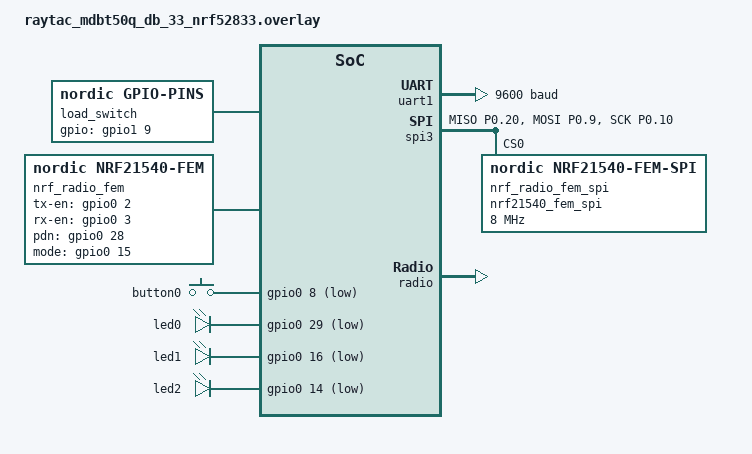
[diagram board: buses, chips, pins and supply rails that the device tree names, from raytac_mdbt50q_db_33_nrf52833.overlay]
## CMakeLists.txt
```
#
# Copyright (c) 2020 Nordic Semiconductor ASA
#
# SPDX-License-Identifier: LicenseRef-Nordic-5-Clause
#
cmake_minimum_required(VERSION 3.20.0)

find_package(Zephyr REQUIRED HINTS $ENV{ZEPHYR_BASE})
project(NONE)

# NORDIC SDK APP START
target_sources(app PRIVATE
	src/main.c
	src/model_handler.c
	src/chat_cli.c
	src/uart1.c
	src/gpiobao.c)
target_include_directories(app PRIVATE include)
# NORDIC SDK APP END
```

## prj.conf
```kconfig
#
# Copyright (c) 2020 Nordic Semiconductor ASA
#
# SPDX-License-Identifier: LicenseRef-Nordic-5-Clause
#
CONFIG_NCS_SAMPLES_DEFAULTS=y

# Deffered logging helps improve LPN power consumption
# when friendship is established.
CONFIG_LOG_MODE_DEFERRED=y

# General configuration
CONFIG_SYSTEM_WORKQUEUE_STACK_SIZE=2048
CONFIG_FLASH=y
CONFIG_FLASH_MAP=y
CONFIG_NVS=y
CONFIG_SETTINGS=y
CONFIG_NVS_LOOKUP_CACHE=y
CONFIG_SETTINGS_NVS_NAME_CACHE=y
CONFIG_HWINFO=y
CONFIG_DK_LIBRARY=y
CONFIG_PM_SINGLE_IMAGE=y
CONFIG_PM_PARTITION_SIZE_SETTINGS_STORAGE=0x8000
CONFIG_SOC_FLASH_NRF_PARTIAL_ERASE=y

# Bluetooth configuration
CONFIG_BT=y
CONFIG_BT_DEVICE_NAME="Mesh Chat"
CONFIG_BT_L2CAP_TX_BUF_COUNT=8
CONFIG_BT_OBSERVER=y
CONFIG_BT_PERIPHERAL=y
CONFIG_BT_SETTINGS=y

# Disable unused Bluetooth features
CONFIG_BT_CTLR_LE_ENC=n
CONFIG_BT_PHY_UPDATE=n
CONFIG_BT_CTLR_CHAN_SEL_2=n
CONFIG_BT_CTLR_MIN_USED_CHAN=n
CONFIG_BT_CTLR_PRIVACY=n

# Bluetooth Mesh configuration
CONFIG_BT_MESH=y
CONFIG_BT_MESH_RELAY=y
CONFIG_BT_MESH_FRIEND=y
CONFIG_BT_MESH_RX_SEG_MAX=10
CONFIG_BT_MESH_TX_SEG_MAX=10
CONFIG_BT_MESH_PB_GATT=y
CONFIG_BT_MESH_GATT_PROXY=y
CONFIG_BT_MESH_DK_PROV=y

# Enable Bluetooth Mesh models debug logs
CONFIG_BT_MESH_LOG_LEVEL_DBG=y

# Enable Shell module and use UART as a backend
CONFIG_SHELL=y
CONFIG_SHELL_BACKEND_SERIAL=y
CONFIG_FLASH_SHELL=n

# Bluetooth Mesh models
CONFIG_BT_MESH_ONOFF_SRV=y

# Enable the UART driver
CONFIG_UART_ASYNC_API=y

CONFIG_HEAP_MEM_POOL_SIZE=2048
CONFIG_LOG_DEFAULT_LEVEL=3
CONFIG_GPIO=y

CONFIG_BT_CTLR_TX_PWR_ANTENNA=20
CONFIG_BT_CTLR_TX_PWR_DYNAMIC_CONTROL=y
```

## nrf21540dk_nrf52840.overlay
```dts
// To get started, press Ctrl+Space (or Option+Esc) to bring up the completion menu and view the available nodes.

// You can also use the buttons in the sidebar to perform actions on nodes.
// Actions currently available include:

// * Enabling / disabling the node
// * Adding the bus to a bus
// * Removing the node
// * Connecting ADC channels

// For more help, browse the DeviceTree documentation at https://docs.zephyrproject.org/latest/guides/dts/index.html
// You can also visit the nRF DeviceTree extension documentation at https://docs.nordicsemi.com/bundle/nrf-connect-vscode/page/guides/ncs_configure_app.html#devicetree-support-in-the-extension

/ {
	load_switch: load_switch {
		compatible = "nordic,gpio-pins";
                /* using built-in LED pin for demonstration */
		gpios = <&gpio1 3 GPIO_ACTIVE_HIGH>;
		status = "okay";
	};
};

&spi1 {
	status = "disabled";
};

&i2c0 {
	status = "disabled";
};

&uart1 {
	status = "okay";
	current-speed = <9600>;
};

&spi3 {
	status = "disabled";
};
```

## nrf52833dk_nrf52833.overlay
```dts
// To get started, press Ctrl+Space (or Option+Esc) to bring up the completion menu and view the available nodes.

// You can also use the buttons in the sidebar to perform actions on nodes.
// Actions currently available include:

// * Enabling / disabling the node
// * Adding the bus to a bus
// * Removing the node
// * Connecting ADC channels

// For more help, browse the DeviceTree documentation at https://docs.zephyrproject.org/latest/guides/dts/index.html
// You can also visit the nRF DeviceTree extension documentation at https://docs.nordicsemi.com/bundle/nrf-connect-vscode/page/guides/ncs_configure_app.html#devicetree-support-in-the-extension

/ {
	load_switch: load_switch {
		compatible = "nordic,gpio-pins";
                /* using built-in LED pin for demonstration */
		gpios = <&gpio1 3 GPIO_ACTIVE_HIGH>;
		status = "okay";
	};
};

&i2c0 { /* SDA 0, SCL 1 */
	status = "disabled";
};

&spi1 {
	status = "disabled";
};

&spi3 {
	status = "disabled";
};

&uart1 {
	status = "okay";
	current-speed = <9600>;
};
```

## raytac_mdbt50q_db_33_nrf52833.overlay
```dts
// To get started, press Ctrl+Space (or Option+Esc) to bring up the completion menu and view the available nodes.

// You can also use the buttons in the sidebar to perform actions on nodes.
// Actions currently available include:

// * Enabling / disabling the node
// * Adding the bus to a bus
// * Removing the node
// * Connecting ADC channels

// For more help, browse the DeviceTree documentation at https://docs.zephyrproject.org/latest/guides/dts/index.html
// You can also visit the nRF DeviceTree extension documentation at https://docs.nordicsemi.com/bundle/nrf-connect-vscode/page/guides/ncs_configure_app.html#devicetree-support-in-the-extension

&uart1 {
	current-speed = <9600>;
};

&spi1 {
	status = "disabled";
};

&i2c0 {
	status = "disabled";
};

&uart1_default {
	group2 {
		psels = <NRF_PSEL(UART_TX, 0, 11)>;
	};

	group1 {
		psels = <NRF_PSEL(UART_RX, 0, 5)>;
	};
};

&uart1_sleep {
	group2 {
		psels = <NRF_PSEL(UART_TX, 0, 11)>;
	};

	group1 {
		psels = <NRF_PSEL(UART_RX, 0, 5)>;
	};
};

&uart0_default {
	group1 {
		psels = <NRF_PSEL(UART_TX, 0, 30)>, <NRF_PSEL(UART_RTS, 0, 6)>;
	};

	group2 {
		psels = <NRF_PSEL(UART_RX, 0, 31)>, <NRF_PSEL(UART_CTS, 0, 7)>;
	};
};

&uart0_sleep {
	group1 {
		psels = <NRF_PSEL(UART_TX, 0, 30)>, <NRF_PSEL(UART_RTS, 0, 6)>;
	};

	group2 {
		psels = <NRF_PSEL(UART_RX, 0, 31)>, <NRF_PSEL(UART_CTS, 0, 7)>;
	};
};

&button0 {
	gpios = <&gpio0 8 (GPIO_ACTIVE_LOW | GPIO_PULL_UP)>;
};

&led0 {
	gpios = <&gpio0 29 GPIO_ACTIVE_LOW>;
};

/ {
	load_switch: load_switch {
		compatible = "nordic,gpio-pins";
                /* using built-in LED pin for demonstration */
		gpios = <&gpio1 9 GPIO_ACTIVE_HIGH>;
		status = "okay";
	};
	nrf_radio_fem: nrf21540-fem {
        compatible = "nordic,nrf21540-fem";
        zephyr,pm-device-runtime-auto;
        tx-en-gpios = <&gpio0 2 GPIO_ACTIVE_HIGH>;
        rx-en-gpios = <&gpio0 3 GPIO_ACTIVE_HIGH>;
        pdn-gpios = <&gpio0 28 GPIO_ACTIVE_HIGH>;
        /* ant-sel-gpios = <&gpio1 4 0>; */
        mode-gpios = <&gpio0 15 GPIO_ACTIVE_HIGH>;
        spi-if = <&nrf_radio_fem_spi>;
		supply-voltage-mv = <3000>;
    };
};

fem_spi: &spi3 {
	status = "okay";

	pinctrl-0 = <&spi3_default>;
	pinctrl-1 = <&spi3_sleep>;
	pinctrl-names = "default", "sleep";
	nrf_radio_fem_spi: nrf21540_fem_spi@0 {
		compatible = "nordic,nrf21540-fem-spi";
		status = "okay";
		reg = <0>;
		spi-max-frequency = <8000000>;
	};
};

&radio {
    fem = <&nrf_radio_fem>;
};

&led1 {
	gpios = <&gpio0 16 GPIO_ACTIVE_LOW>;
};

&led2 {
	gpios = <&gpio0 14 GPIO_ACTIVE_LOW>;
};

&pinctrl {
	spi3_default: spi3_default {
		group1 {
			psels = <NRF_PSEL(SPIM_MISO, 0, 20)>,
					<NRF_PSEL(SPIM_MOSI, 0, 9)>,
					<NRF_PSEL(SPIM_SCK, 0, 10)>;
		};
	};
	spi3_sleep: spi3_sleep {
		group1 {
			psels = <NRF_PSEL(SPIM_MISO, 0, 20)>,
					<NRF_PSEL(SPIM_MOSI, 0, 9)>,
					<NRF_PSEL(SPIM_SCK, 0, 10)>;
		};
	};
};
```

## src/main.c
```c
/*
 * Copyright (c) 2019 Nordic Semiconductor ASA
 *
 * SPDX-License-Identifier: LicenseRef-Nordic-5-Clause
 */

/** @file
 *  @brief Nordic Mesh light sample
 */
#include <zephyr/bluetooth/bluetooth.h>
#include <bluetooth/mesh/models.h>
#include <bluetooth/mesh/dk_prov.h>
#include <dk_buttons_and_leds.h>
#include "model_handler.h"
#include "uart1.h"
#include "gpiobao.h"
#include <zephyr/kernel.h>
#include <zephyr/logging/log.h>
LOG_MODULE_REGISTER(chat, CONFIG_LOG_DEFAULT_LEVEL);

/* size of stack area used by each thread */
#define STACKSIZE 1024

/* scheduling priority used by each thread */
#define PRIORITY 7

//#ifdef brobao
K_THREAD_DEFINE(uart_out_id, STACKSIZE, uart_out, NULL, NULL, NULL,
		PRIORITY, 0, 0);
//#endif

static void bt_ready(int err)
{
	if (err) {
		printk("Bluetooth init failed (err %d)\n", err);
		return;
	}

	printk("Bluetooth initialized\n");

	dk_leds_init();
	dk_buttons_init(NULL);

	err = bt_mesh_init(bt_mesh_dk_prov_init(), model_handler_init());
	if (err) {
		printk("Initializing mesh failed (err %d)\n", err);
		return;
	}

	if (IS_ENABLED(CONFIG_SETTINGS)) {
		settings_load();
	}

	/* This will be a no-op if settings_load() loaded provisioning info */
	bt_mesh_prov_enable(BT_MESH_PROV_ADV | BT_MESH_PROV_GATT);

	printk("Mesh initialized\n");
}

int main(void)
{
	int err;

	printk("Initializing...\n");

	err = gpiomain();
	if (err) {
		printk("485 di gpio init failed (err %d)\n", err);
	}

	err = sensormain();
	if (err) {
		printk("485 sensor init failed (err %d)\n", err);
	}

	err = bt_enable(bt_ready);
	if (err) {
		printk("Bluetooth init failed (err %d)\n", err);
	}

	return 0;
}
```

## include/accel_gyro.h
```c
int accel_gyro_main(void);
```

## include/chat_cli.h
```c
/*
 * Copyright (c) 2020 Nordic Semiconductor ASA
 *
 * SPDX-License-Identifier: LicenseRef-Nordic-5-Clause
 */

/**
 * @file
 * @defgroup bt_mesh_chat_cli
 * @{
 * @brief API for the Bluetooth Mesh Chat Client model.
 */

#ifndef BT_MESH_CHAT_CLI_H__
#define BT_MESH_CHAT_CLI_H__

#include <zephyr/bluetooth/mesh.h>
#include <bluetooth/mesh/model_types.h>

#ifdef __cplusplus
extern "C" {
#endif

/* .. include_startingpoint_chat_cli_rst_1 */
/** Company ID of the Bluetooth Mesh Chat Client model. */
#define BT_MESH_CHAT_CLI_VENDOR_COMPANY_ID    CONFIG_BT_COMPANY_ID_NORDIC

/** Model ID of the Bluetooth Mesh Chat Client model. */
#define BT_MESH_CHAT_CLI_VENDOR_MODEL_ID      0x000A

/** Non-private message opcode. */
#define BT_MESH_CHAT_CLI_OP_MESSAGE BT_MESH_MODEL_OP_3(0x0A, \
				       BT_MESH_CHAT_CLI_VENDOR_COMPANY_ID)

/** Private message opcode. */
#define BT_MESH_CHAT_CLI_OP_PRIVATE_MESSAGE BT_MESH_MODEL_OP_3(0x0B, \
				       BT_MESH_CHAT_CLI_VENDOR_COMPANY_ID)

/** Message reply opcode. */
#define BT_MESH_CHAT_CLI_OP_MESSAGE_REPLY BT_MESH_MODEL_OP_3(0x0C, \
				       BT_MESH_CHAT_CLI_VENDOR_COMPANY_ID)

/** Presence message opcode. */
#define BT_MESH_CHAT_CLI_OP_PRESENCE BT_MESH_MODEL_OP_3(0x0D, \
				       BT_MESH_CHAT_CLI_VENDOR_COMPANY_ID)

/** Presence get message opcode. */
#define BT_MESH_CHAT_CLI_OP_PRESENCE_GET BT_MESH_MODEL_OP_3(0x0E, \
				       BT_MESH_CHAT_CLI_VENDOR_COMPANY_ID)
/* .. include_endpoint_chat_cli_rst_1 */

#define BT_MESH_CHAT_CLI_MSG_MINLEN_MESSAGE 1
#define BT_MESH_CHAT_CLI_MSG_MAXLEN_MESSAGE (\
				     CONFIG_BT_MESH_CHAT_CLI_MESSAGE_LENGTH \
				     + 1) /* + \0 */
#define BT_MESH_CHAT_CLI_MSG_LEN_MESSAGE_REPLY 0
#define BT_MESH_CHAT_CLI_MSG_LEN_PRESENCE 1
#define BT_MESH_CHAT_CLI_MSG_LEN_PRESENCE_GET 0

/** Bluetooth Mesh Chat Client Presence values. */
enum bt_mesh_chat_cli_presence {
	BT_MESH_CHAT_CLI_PRESENCE_AVAILABLE,
	BT_MESH_CHAT_CLI_PRESENCE_AWAY,
	BT_MESH_CHAT_CLI_PRESENCE_INACTIVE,
	BT_MESH_CHAT_CLI_PRESENCE_DO_NOT_DISTURB
};

/* Forward declaration of the Bluetooth Mesh Chat Client model context. */
struct bt_mesh_chat_cli;

/* .. include_startingpoint_chat_cli_rst_2 */
/** @def BT_MESH_MODEL_CHAT_CLI
 *
 * @brief Bluetooth Mesh Chat Client model composition data entry.
 *
 * @param[in] _chat Pointer to a @ref bt_mesh_chat_cli instance.
 */
#define BT_MESH_MODEL_CHAT_CLI(_chat)                                          \
		BT_MESH_MODEL_VND_CB(BT_MESH_CHAT_CLI_VENDOR_COMPANY_ID,       \
			BT_MESH_CHAT_CLI_VENDOR_MODEL_ID,                      \
			_bt_mesh_chat_cli_op, &(_chat)->pub,                   \
			BT_MESH_MODEL_USER_DATA(struct bt_mesh_chat_cli,       \
						_chat),                        \
			&_bt_mesh_chat_cli_cb)
/* .. include_endpoint_chat_cli_rst_2 */

/** Bluetooth Mesh Chat Client model handlers. */
struct bt_mesh_chat_cli_handlers {
	/** @brief Called after the node has been provisioned, or after all
	 * mesh data has been loaded from persistent storage.
	 *
	 * @param[in] cli Chat Client instance that has been started.
	 */
	void (*const start)(struct bt_mesh_chat_cli *chat);

	/** @brief Handler for a presence message.
	 *
	 * @param[in] cli Chat client instance that received the text message.
	 * @param[in] ctx Context of the incoming message.
	 * @param[in] presence Presence of a Chat Client that published
	 * the message.
	 */
	void (*const presence)(struct bt_mesh_chat_cli *chat,
			       struct bt_mesh_msg_ctx *ctx,
			       enum bt_mesh_chat_cli_presence presence);

	/** @brief Handler for a non-private text message.
	 *
	 * @param[in] cli Chat client instance that received the text message.
	 * @param[in] ctx Context of the incoming message.
	 * @param[in] msg Pointer to a received text message terminated with
	 * a null character, '\0'.
	 */
	void (*const message)(struct bt_mesh_chat_cli *chat,
			      struct bt_mesh_msg_ctx *ctx,
			      const uint8_t *msg);

	/** @brief Handler for a private message.
	 *
	 * @param[in] cli Chat client that received the text message.
	 * @param[in] ctx Context of the incoming message.
	 * @param[in] msg Pointer to a received text message terminated with
	 * a null character, '\0'.
	 */
	void (*const private_message)(struct bt_mesh_chat_cli *chat,
				      struct bt_mesh_msg_ctx *ctx,
				      const uint8_t *msg);

	/** @brief Handler for a reply on a private message.
	 *
	 * @param[in] cli Chat client instance that received the reply.
	 * @param[in] ctx Context of the incoming message.
	 */
	void (*const message_reply)(struct bt_mesh_chat_cli *chat,
				    struct bt_mesh_msg_ctx *ctx);
};

/* .. include_startingpoint_chat_cli_rst_3 */
/**
 * Bluetooth Mesh Chat Client model context.
 */
struct bt_mesh_chat_cli {
	/** Access model pointer. */
	const struct bt_mesh_model *model;
	/** Publish parameters. */
	struct bt_mesh_model_pub pub;
	/** Publication message. */
	struct net_buf_simple pub_msg;
	/** Publication message buffer. */
	uint8_t buf[BT_MESH_MODEL_BUF_LEN(BT_MESH_CHAT_CLI_OP_MESSAGE,
					  BT_MESH_CHAT_CLI_MSG_MAXLEN_MESSAGE)];
	/** Handler function structure. */
	const struct bt_mesh_chat_cli_handlers *handlers;
	/** Current Presence value. */
	enum bt_mesh_chat_cli_presence presence;
};
/* .. include_endpoint_chat_cli_rst_3 */

/** @brief Set the client presence and publish the presence to the mesh network.
 *
 * @param[in] chat     Chat Client model instance to set presence on.
 * @param[in] presence Presence status to be published.
 *
 * @retval 0 Successfully set the preceive and sent the message.
 * @retval -EADDRNOTAVAIL Publishing is not configured.
 * @retval -EAGAIN The device has not been provisioned.
 */
int bt_mesh_chat_cli_presence_set(struct bt_mesh_chat_cli *chat,
				  enum bt_mesh_chat_cli_presence presence);

/** @brief Get current presence value of a chat client.
 *
 * @param[in] chat Chat Client model instance to send the message.
 * @param[in] addr Address of the chat client to get presence value of.
 *
 * @retval 0 Successfully sent the message.
 * @retval -EINVAL The model is not bound to an application key.
 * @retval -EAGAIN The device has not been provisioned.
 */
int bt_mesh_chat_cli_presence_get(struct bt_mesh_chat_cli *chat,
				  uint16_t addr);

/** @brief Send a text message.
 *
 * @param[in] cli Chat Client model instance to send the message.
 * @param[in] msg Pointer to a text message to send. Must be terminated with
 * a null character, '\0'.
 *
 * @retval 0 Successfully sent the message.
 * @retval -EADDRNOTAVAIL Publishing is not configured.
 * @retval -EAGAIN The device has not been provisioned.
 */
int bt_mesh_chat_cli_message_send(struct bt_mesh_chat_cli *chat,
				  const uint8_t *msg);

int bt_mesh_chat_cli_message_send_len(struct bt_mesh_chat_cli *chat,
				  const uint8_t *msg, uint8_t len);

/** @brief Send a text message to a specified destination.
 *
 * @param[in] cli  Chat Client model instance to send the message.
 * @param[in] addr Address of the chat client to send message to.
 * @param[in] msg  Pointer to a text message to send. Must be terminated with
 * a null character, '\0'.
 *
 * @retval 0 Successfully sent the message.
 * @retval -EINVAL The model is not bound to an application key.
 * @retval -EAGAIN The device has not been provisioned.
 */
int bt_mesh_chat_cli_private_message_send(struct bt_mesh_chat_cli *chat,
					  uint16_t addr,
					  const uint8_t *msg);

/** @cond INTERNAL_HIDDEN */
extern const struct bt_mesh_model_op _bt_mesh_chat_cli_op[];
extern const struct bt_mesh_model_cb _bt_mesh_chat_cli_cb;
/** @endcond */

#ifdef __cplusplus
}
#endif

#endif /* BT_MESH_CHAT_CLI_H__ */

/** @} */
```

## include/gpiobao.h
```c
int gpiomain(void);
int gpioset(int setG);
```

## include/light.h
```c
int ambient_light(void);
```

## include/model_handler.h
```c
/*
 * Copyright (c) 2020 Nordic Semiconductor ASA
 *
 * SPDX-License-Identifier: LicenseRef-Nordic-5-Clause
 */

/**
 * @file
 * @brief Model handler
 */

#ifndef MODEL_HANDLER_H__
#define MODEL_HANDLER_H__

#include <zephyr/bluetooth/mesh.h>
#define brobao
#define modbus
#define staticId
#define gpiobao
#ifdef __cplusplus
extern "C" {
#endif

const struct bt_mesh_comp *model_handler_init(void);

int sensor_message(char *content);
int sensor_message_len(char *content, uint8_t len);

#ifdef __cplusplus
}
#endif

#endif /* MODEL_HANDLER_H__ */
```

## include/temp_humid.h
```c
int temp_humid(void);
```

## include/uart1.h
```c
void uart_out(void);
int sensormain(void);
```

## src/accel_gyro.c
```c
/*
 * Copyright (c) 2020 TDK Invensense
 *
 * SPDX-License-Identifier: Apache-2.0
 */

#include <zephyr/kernel.h>
#include <zephyr/device.h>
#include <zephyr/drivers/sensor.h>
#include <stdio.h>
#include "model_handler.h"
#include "accel_gyro.h"
#ifdef sensorIIFarFarFarFar
#define PRINT_SIZE 256
char str[PRINT_SIZE];
static const char *now_str(void)
{
	static char buf[16]; /* ...HH:MM:SS.MMM */
	uint32_t now = k_uptime_get_32();
	unsigned int ms = now % MSEC_PER_SEC;
	unsigned int s;
	unsigned int min;
	unsigned int h;

	now /= MSEC_PER_SEC;
	s = now % 60U;
	now /= 60U;
	min = now % 60U;
	now /= 60U;
	h = now;

	snprintf(buf, sizeof(buf), "%u:%02u:%02u.%03u",
		 h, min, s, ms);
	return buf;
}

static int process_icm42605(const struct device *dev)
{
	struct sensor_value temperature;
	struct sensor_value accel[3];
	struct sensor_value gyro[3];
	int rc = sensor_sample_fetch(dev);

	if (rc == 0) {
		rc = sensor_channel_get(dev, SENSOR_CHAN_ACCEL_XYZ,
					accel);
	}
	if (rc == 0) {
		rc = sensor_channel_get(dev, SENSOR_CHAN_GYRO_XYZ,
					gyro);
	}
	if (rc == 0) {
		rc = sensor_channel_get(dev, SENSOR_CHAN_DIE_TEMP,
					&temperature);
	}
	if (rc == 0) {
		sprintf(str, "[%s]:% g Cel\n"
		       "  accel % f % f % f m/s/s\n"
		       "  gyro  % f % f % f rad/s\n",
		       now_str(),
		       sensor_value_to_double(&temperature),
		       sensor_value_to_double(&accel[0]),
		       sensor_value_to_double(&accel[1]),
		       sensor_value_to_double(&accel[2]),
		       sensor_value_to_double(&gyro[0]),
		       sensor_value_to_double(&gyro[1]),
		       sensor_value_to_double(&gyro[2]));
	} else {
		printf("sample fetch/get failed: %d\n", rc);
	}

    // 怎麼從 main process 去發動傳送 mesh 還要研究一下，目前看起來只能從 shell 來
	// 應該是從這個地方下 chat
	int err = sensor_message(str);
	if (err) {
		printk("Failed to send message: %d", err);
	}

	return rc;
}

static struct sensor_trigger data_trigger;
static struct sensor_trigger tap_trigger;
static struct sensor_trigger double_tap_trigger;

static void handle_icm42605_drdy(const struct device *dev,
				 const struct sensor_trigger *trig)
{
	int rc = process_icm42605(dev);

	if (rc != 0) {
		printf("cancelling trigger due to failure: %d\n", rc);
		(void)sensor_trigger_set(dev, trig, NULL);
		return;
	}
}

static void handle_icm42605_tap(const struct device *dev,
				const struct sensor_trigger *trig)
{
	printf("Tap Detected!\n");
}

static void handle_icm42605_double_tap(const struct device *dev,
				       const struct sensor_trigger *trig)
{
	printf("Double Tap detected!\n");
}
#endif
int accel_gyro_main(void)
{
#ifdef sensorIIFarFarFarFar    
	const struct device *const icm42605 = DEVICE_DT_GET_ONE(invensense_icm42605);

	if (!device_is_ready(icm42605)) {
		printk("sensor: device not ready.\n");
		return 0;
	}

	tap_trigger = (struct sensor_trigger) {
		.type = SENSOR_TRIG_TAP,
		.chan = SENSOR_CHAN_ALL,
	};

	if (sensor_trigger_set(icm42605, &tap_trigger,
			       handle_icm42605_tap) < 0) {
		printf("Cannot configure tap trigger!!!\n");
		return 0;
	}

	double_tap_trigger = (struct sensor_trigger) {
		.type = SENSOR_TRIG_DOUBLE_TAP,
		.chan = SENSOR_CHAN_ALL,
	};

	if (sensor_trigger_set(icm42605, &double_tap_trigger,
			       handle_icm42605_double_tap) < 0) {
		printf("Cannot configure double tap trigger!!!\n");
		return 0;
	}

	data_trigger = (struct sensor_trigger) {
		.type = SENSOR_TRIG_DATA_READY,
		.chan = SENSOR_CHAN_ALL,
	};
    k_sleep(K_MSEC(20000));
	while (sensor_trigger_set(icm42605, &data_trigger,
			       handle_icm42605_drdy) >= 0) {
		k_sleep(K_MSEC(2000));
		//return 0;
	}
    printf("Cannot configure data trigger!!!\n");
	printf("Configured for triggered sampling.\n");
#endif    
	return 0;
}
```

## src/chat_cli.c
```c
/*
 * Copyright (c) 2019 Nordic Semiconductor ASA
 *
 * SPDX-License-Identifier: LicenseRef-Nordic-5-Clause
 */

#include <zephyr/bluetooth/mesh.h>
#include "chat_cli.h"
#include "mesh/net.h"
#include <string.h>

#include <zephyr/logging/log.h>
LOG_MODULE_DECLARE(chat);

BUILD_ASSERT(BT_MESH_MODEL_BUF_LEN(BT_MESH_CHAT_CLI_OP_MESSAGE,
				   BT_MESH_CHAT_CLI_MSG_MAXLEN_MESSAGE) <=
		    BT_MESH_RX_SDU_MAX,
	     "The message must fit inside an application SDU.");
BUILD_ASSERT(BT_MESH_MODEL_BUF_LEN(BT_MESH_CHAT_CLI_OP_MESSAGE,
				   BT_MESH_CHAT_CLI_MSG_MAXLEN_MESSAGE) <=
		    BT_MESH_TX_SDU_MAX,
	     "The message must fit inside an application SDU.");

static void encode_presence(struct net_buf_simple *buf,
			    enum bt_mesh_chat_cli_presence presence)
{
	bt_mesh_model_msg_init(buf, BT_MESH_CHAT_CLI_OP_PRESENCE);
	net_buf_simple_add_u8(buf, presence);
}

static const uint8_t *extract_msg(struct net_buf_simple *buf)
{
	buf->data[buf->len - 1] = '\0';
	return net_buf_simple_pull_mem(buf, buf->len);
}

static void print_hex(const uint8_t *ptr, size_t len, char *dst)
{
	while (len-- != 0) {
		sprintf(dst, "%02x", *ptr++);
		dst += 2;
	}
}

static int handle_message(const struct bt_mesh_model *model, struct bt_mesh_msg_ctx *ctx,
			  struct net_buf_simple *buf)
{
	struct bt_mesh_chat_cli *chat = model->rt->user_data;
	const uint8_t *msg;
	int size = 128;
	char dst[size];
	memset(dst, size, 0);
	int len = buf->len;
	msg = extract_msg(buf);
	print_hex(msg, len, dst);
	if (chat->handlers->message) {
		chat->handlers->message(chat, ctx, dst);
	}

	return 0;
}

/* .. include_startingpoint_chat_cli_rst_1 */
static void send_message_reply(struct bt_mesh_chat_cli *chat,
			     struct bt_mesh_msg_ctx *ctx)
{
	BT_MESH_MODEL_BUF_DEFINE(msg, BT_MESH_CHAT_CLI_OP_MESSAGE_REPLY,
				 BT_MESH_CHAT_CLI_MSG_LEN_MESSAGE_REPLY);
	bt_mesh_model_msg_init(&msg, BT_MESH_CHAT_CLI_OP_MESSAGE_REPLY);

	(void)bt_mesh_model_send(chat->model, ctx, &msg, NULL, NULL);
}

static int handle_private_message(const struct bt_mesh_model *model, struct bt_mesh_msg_ctx *ctx,
				  struct net_buf_simple *buf)
{
	struct bt_mesh_chat_cli *chat = model->rt->user_data;
	const uint8_t *msg;

	msg = extract_msg(buf);

	if (chat->handlers->private_message) {
		chat->handlers->private_message(chat, ctx, msg);
	}

	send_message_reply(chat, ctx);
	return 0;
}
/* .. include_endpoint_chat_cli_rst_1 */

static int handle_message_reply(const struct bt_mesh_model *model, struct bt_mesh_msg_ctx *ctx,
				struct net_buf_simple *buf)
{
	struct bt_mesh_chat_cli *chat = model->rt->user_data;

	if (chat->handlers->message_reply) {
		chat->handlers->message_reply(chat, ctx);
	}

	return 0;
}

static int handle_presence(const struct bt_mesh_model *model, struct bt_mesh_msg_ctx *ctx,
			   struct net_buf_simple *buf)
{
	struct bt_mesh_chat_cli *chat = model->rt->user_data;
	enum bt_mesh_chat_cli_presence presence;

	presence = net_buf_simple_pull_u8(buf);

	if (chat->handlers->presence) {
		chat->handlers->presence(chat, ctx, presence);
	}

	return 0;
}

static int handle_presence_get(const struct bt_mesh_model *model, struct bt_mesh_msg_ctx *ctx,
			       struct net_buf_simple *buf)
{
	struct bt_mesh_chat_cli *chat = model->rt->user_data;

	BT_MESH_MODEL_BUF_DEFINE(msg, BT_MESH_CHAT_CLI_OP_PRESENCE,
				 BT_MESH_CHAT_CLI_MSG_LEN_PRESENCE);

	encode_presence(&msg, chat->presence);

	(void)bt_mesh_model_send(chat->model, ctx, &msg, NULL, NULL);

	return 0;
}

/* .. include_startingpoint_chat_cli_rst_2 */
const struct bt_mesh_model_op _bt_mesh_chat_cli_op[] = {
	{
		BT_MESH_CHAT_CLI_OP_MESSAGE,
		BT_MESH_LEN_MIN(BT_MESH_CHAT_CLI_MSG_MINLEN_MESSAGE),
		handle_message
	},
	{
		BT_MESH_CHAT_CLI_OP_PRIVATE_MESSAGE,
		BT_MESH_LEN_MIN(BT_MESH_CHAT_CLI_MSG_MINLEN_MESSAGE),
		handle_private_message
	},
	{
		BT_MESH_CHAT_CLI_OP_MESSAGE_REPLY,
		BT_MESH_LEN_EXACT(BT_MESH_CHAT_CLI_MSG_LEN_MESSAGE_REPLY),
		handle_message_reply
	},
	{
		BT_MESH_CHAT_CLI_OP_PRESENCE,
		BT_MESH_LEN_EXACT(BT_MESH_CHAT_CLI_MSG_LEN_PRESENCE),
		handle_presence
	},
	{
		BT_MESH_CHAT_CLI_OP_PRESENCE_GET,
		BT_MESH_LEN_EXACT(BT_MESH_CHAT_CLI_MSG_LEN_PRESENCE_GET),
		handle_presence_get
	},
	BT_MESH_MODEL_OP_END,
};
/* .. include_endpoint_chat_cli_rst_2 */

static int bt_mesh_chat_cli_update_handler(const struct bt_mesh_model *model)
{
	struct bt_mesh_chat_cli *chat = model->rt->user_data;

	/* Continue publishing current presence. */
	encode_presence(model->pub->msg, chat->presence);

	return 0;
}

/* .. include_startingpoint_chat_cli_rst_3 */
#ifdef CONFIG_BT_SETTINGS
static int bt_mesh_chat_cli_settings_set(const struct bt_mesh_model *model,
					 const char *name,
					 size_t len_rd,
					 settings_read_cb read_cb,
					 void *cb_arg)
{
	struct bt_mesh_chat_cli *chat = model->rt->user_data;

	if (name) {
		return -ENOENT;
	}

	ssize_t bytes = read_cb(cb_arg, &chat->presence,
				sizeof(chat->presence));
	if (bytes < 0) {
		return bytes;
	}

	if (bytes != 0 && bytes != sizeof(chat->presence)) {
		return -EINVAL;
	}

	return 0;
}
#endif
/* .. include_endpoint_chat_cli_rst_3 */

/* .. include_startingpoint_chat_cli_rst_4 */
static int bt_mesh_chat_cli_init(const struct bt_mesh_model *model)
{
	struct bt_mesh_chat_cli *chat = model->rt->user_data;

	chat->model = model;

	net_buf_simple_init_with_data(&chat->pub_msg, chat->buf,
				      sizeof(chat->buf));
	chat->pub.msg = &chat->pub_msg;
	chat->pub.update = bt_mesh_chat_cli_update_handler;

	return 0;
}
/* .. include_endpoint_chat_cli_rst_4 */

/* .. include_startingpoint_chat_cli_rst_5 */
static int bt_mesh_chat_cli_start(const struct bt_mesh_model *model)
{
	struct bt_mesh_chat_cli *chat = model->rt->user_data;

	if (chat->handlers->start) {
		chat->handlers->start(chat);
	}

	return 0;
}
/* .. include_endpoint_chat_cli_rst_5 */

/* .. include_startingpoint_chat_cli_rst_6 */
static void bt_mesh_chat_cli_reset(const struct bt_mesh_model *model)
{
	struct bt_mesh_chat_cli *chat = model->rt->user_data;

	chat->presence = BT_MESH_CHAT_CLI_PRESENCE_AVAILABLE;

	if (IS_ENABLED(CONFIG_BT_SETTINGS)) {
		(void) bt_mesh_model_data_store(model, true, NULL, NULL, 0);
	}
}
/* .. include_endpoint_chat_cli_rst_6 */

/* .. include_startingpoint_chat_cli_rst_7 */
const struct bt_mesh_model_cb _bt_mesh_chat_cli_cb = {
	.init = bt_mesh_chat_cli_init,
	.start = bt_mesh_chat_cli_start,
#ifdef CONFIG_BT_SETTINGS
	.settings_set = bt_mesh_chat_cli_settings_set,
#endif
	.reset = bt_mesh_chat_cli_reset,
};
/* .. include_endpoint_chat_cli_rst_7 */

/* .. include_startingpoint_chat_cli_rst_8 */
int bt_mesh_chat_cli_presence_set(struct bt_mesh_chat_cli *chat,
			 enum bt_mesh_chat_cli_presence presence)
{
	if (presence != chat->presence) {
		chat->presence = presence;

		if (IS_ENABLED(CONFIG_BT_SETTINGS)) {
			(void) bt_mesh_model_data_store(chat->model, true,
						NULL, &presence,
						sizeof(chat->presence));
		}
	}

	encode_presence(chat->model->pub->msg, chat->presence);

	return bt_mesh_model_publish(chat->model);
}
/* .. include_endpoint_chat_cli_rst_8 */

int bt_mesh_chat_cli_presence_get(struct bt_mesh_chat_cli *chat,
				  uint16_t addr)
{
	struct bt_mesh_msg_ctx ctx = {
		.addr = addr,
		.app_idx = chat->model->keys[0],
		.send_ttl = BT_MESH_TTL_DEFAULT,
		.send_rel = true,
	};

	BT_MESH_MODEL_BUF_DEFINE(buf, BT_MESH_CHAT_CLI_OP_PRESENCE_GET,
				 BT_MESH_CHAT_CLI_MSG_LEN_PRESENCE_GET);
	bt_mesh_model_msg_init(&buf, BT_MESH_CHAT_CLI_OP_PRESENCE_GET);

	return bt_mesh_model_send(chat->model, &ctx, &buf, NULL, NULL);
}

int bt_mesh_chat_cli_message_send(struct bt_mesh_chat_cli *chat,
				  const uint8_t *msg)
{
	struct net_buf_simple *buf = chat->model->pub->msg;

	bt_mesh_model_msg_init(buf, BT_MESH_CHAT_CLI_OP_MESSAGE);

	net_buf_simple_add_mem(buf, msg,
			       strnlen(msg,
				       CONFIG_BT_MESH_CHAT_CLI_MESSAGE_LENGTH));
	net_buf_simple_add_u8(buf, '\0');

	return bt_mesh_model_publish(chat->model);
}

/* .. include_startingpoint_chat_cli_rst_9 */
int bt_mesh_chat_cli_private_message_send(struct bt_mesh_chat_cli *chat,
					  uint16_t addr,
					  const uint8_t *msg)
{
	struct bt_mesh_msg_ctx ctx = {
		.addr = addr,
		.app_idx = chat->model->keys[0],
		.send_ttl = BT_MESH_TTL_DEFAULT,
		.send_rel = true,
	};

	BT_MESH_MODEL_BUF_DEFINE(buf, BT_MESH_CHAT_CLI_OP_PRIVATE_MESSAGE,
				 BT_MESH_CHAT_CLI_MSG_MAXLEN_MESSAGE);
	bt_mesh_model_msg_init(&buf, BT_MESH_CHAT_CLI_OP_PRIVATE_MESSAGE);

	net_buf_simple_add_mem(&buf, msg,
			       strnlen(msg,
				       CONFIG_BT_MESH_CHAT_CLI_MESSAGE_LENGTH));
	net_buf_simple_add_u8(&buf, '\0');

	return bt_mesh_model_send(chat->model, &ctx, &buf, NULL, NULL);
}
/* .. include_endpoint_chat_cli_rst_9 */
```

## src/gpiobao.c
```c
/*
 * Copyright (c) 2023 Libre Solar Technologies GmbH
 *
 * SPDX-License-Identifier: Apache-2.0
 */

#include <stdio.h>
#include "gpiobao.h"
#include <zephyr/devicetree.h>
#include <zephyr/drivers/gpio.h>
#include <zephyr/kernel.h>

#if !DT_NODE_EXISTS(DT_NODELABEL(load_switch))
#error "Overlay for power output node not properly defined."
#endif

static const struct gpio_dt_spec load_switch =
	GPIO_DT_SPEC_GET_OR(DT_NODELABEL(load_switch), gpios, {0});

int gpiomain(void)
{
	int err;

	if (!gpio_is_ready_dt(&load_switch)) {
		printf("The load switch pin GPIO port is not ready.\n");
		return 0;
	}

	printf("Initializing pin with inactive level.\n");

	err = gpio_pin_configure_dt(&load_switch, GPIO_OUTPUT_INACTIVE);
	if (err != 0) {
		printf("Configuring GPIO pin failed: %d\n", err);
		return 0;
	}

	printf("Waiting one second.\n");

	k_sleep(K_MSEC(1000));

	return err;
}

int gpioset(int setG)
{
    //printf("Setting pin to active level.\n");

	int err = gpio_pin_set_dt(&load_switch, setG);
	if (err != 0) {
		printf("Setting GPIO pin level failed: %d\n", err);
	}

	return err;
}
```

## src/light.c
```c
/*
 * Copyright (c) 2018 Peter Bigot Consulting, LLC
 *
 * SPDX-License-Identifier: Apache-2.0
 */

#include <zephyr/kernel.h>
#include <zephyr/device.h>
#include <zephyr/drivers/sensor.h>
#include <stdio.h>
#include "light.h"
#include "model_handler.h"
#ifdef sensorIIIFarFarFarFar
#define PRINT_SIZE 256
#endif
int ambient_light(void)
{
#ifdef sensorIIIFarFarFarFar
	const struct device *const dev = DEVICE_DT_GET_ONE(rohm_bh1750);
	struct sensor_value val;
	uint32_t lum = 0U;

	char str[PRINT_SIZE];
    
	if (!device_is_ready(dev)) {
		printk("Device %s is not ready\n", dev->name);
		return 0;
	}

	k_sleep(K_MSEC(15000));
	while (1) {
		if (sensor_sample_fetch_chan(dev, SENSOR_CHAN_LIGHT) != 0) {
			printk("sensor: sample fetch fail.\n");
			return 0;
		}

		if (sensor_channel_get(dev, SENSOR_CHAN_LIGHT, &val) != 0) {
			printk("sensor: channel get fail.\n");
			return 0;
		}

		lum = val.val1;
		sprintf(str, "sensor: lum reading: %d\n", lum);

		// 怎麼從 main process 去發動傳送 mesh 還要研究一下，目前看起來只能從 shell 來
		// 應該是從這個地方下 chat
		int err = sensor_message(str);
		if (err) {
			printk("Failed to send message: %d", err);
		}

		k_sleep(K_MSEC(4000));
	}
#endif
	return 0;
}
```

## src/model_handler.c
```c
/*
 * Copyright (c) 2019 Nordic Semiconductor ASA
 *
 * SPDX-License-Identifier: LicenseRef-Nordic-5-Clause
 */

#include <stdio.h>

#include <zephyr/bluetooth/bluetooth.h>
#include <bluetooth/mesh/models.h>
#include <dk_buttons_and_leds.h>

#include <zephyr/shell/shell.h>
#include <zephyr/shell/shell_uart.h>

#include "chat_cli.h"
#include "model_handler.h"

#include <zephyr/logging/log.h>
LOG_MODULE_DECLARE(chat);

static const struct shell *chat_shell;

/******************************************************************************/
/*************************** Health server setup ******************************/
/******************************************************************************/
/* Set up a repeating delayed work to blink the DK's LEDs when attention is
 * requested.
 */
static struct k_work_delayable attention_blink_work;
static bool attention;

static void led_set(struct bt_mesh_onoff_srv *srv, struct bt_mesh_msg_ctx *ctx,
		    const struct bt_mesh_onoff_set *set,
		    struct bt_mesh_onoff_status *rsp);

static void led_get(struct bt_mesh_onoff_srv *srv, struct bt_mesh_msg_ctx *ctx,
		    struct bt_mesh_onoff_status *rsp);

static const struct bt_mesh_onoff_srv_handlers onoff_handlers = {
	.set = led_set,
	.get = led_get,
};

struct led_ctx {
	struct bt_mesh_onoff_srv srv;
	struct k_work_delayable work;
	uint32_t remaining;
	bool value;
};

static struct led_ctx led_ctx[] = {
#if DT_NODE_EXISTS(DT_ALIAS(led0))
	{ .srv = BT_MESH_ONOFF_SRV_INIT(&onoff_handlers) },
#endif
#if DT_NODE_EXISTS(DT_ALIAS(led1))
	{ .srv = BT_MESH_ONOFF_SRV_INIT(&onoff_handlers) },
#endif
#if DT_NODE_EXISTS(DT_ALIAS(led2))
	{ .srv = BT_MESH_ONOFF_SRV_INIT(&onoff_handlers) },
#endif
#if DT_NODE_EXISTS(DT_ALIAS(led3))
	{ .srv = BT_MESH_ONOFF_SRV_INIT(&onoff_handlers) },
#endif
};

static void led_transition_start(struct led_ctx *led)
{
	int led_idx = led - &led_ctx[0];

	/* As long as the transition is in progress, the onoff
	 * state is "on":
	 */
	dk_set_led(led_idx, true);
	k_work_reschedule(&led->work, K_MSEC(led->remaining));
	led->remaining = 0;
}

static void led_status(struct led_ctx *led, struct bt_mesh_onoff_status *status)
{
	/* Do not include delay in the remaining time. */
	status->remaining_time = led->remaining ? led->remaining :
		k_ticks_to_ms_ceil32(k_work_delayable_remaining_get(&led->work));
	status->target_on_off = led->value;
	/* As long as the transition is in progress, the onoff state is "on": */
	status->present_on_off = led->value || status->remaining_time;
}

static void led_set(struct bt_mesh_onoff_srv *srv, struct bt_mesh_msg_ctx *ctx,
		    const struct bt_mesh_onoff_set *set,
		    struct bt_mesh_onoff_status *rsp)
{
	struct led_ctx *led = CONTAINER_OF(srv, struct led_ctx, srv);
	int led_idx = led - &led_ctx[0];

	if (set->on_off == led->value) {
		goto respond;
	}

	led->value = set->on_off;
	if (!bt_mesh_model_transition_time(set->transition)) {
		led->remaining = 0;
		dk_set_led(led_idx, set->on_off);
		goto respond;
	}

	led->remaining = set->transition->time;

	if (set->transition->delay) {
		k_work_reschedule(&led->work, K_MSEC(set->transition->delay));
	} else {
		led_transition_start(led);
	}

respond:
	if (rsp) {
		led_status(led, rsp);
	}
}

static void led_get(struct bt_mesh_onoff_srv *srv, struct bt_mesh_msg_ctx *ctx,
		    struct bt_mesh_onoff_status *rsp)
{
	struct led_ctx *led = CONTAINER_OF(srv, struct led_ctx, srv);

	led_status(led, rsp);
}

static void led_work(struct k_work *work)
{
	struct led_ctx *led = CONTAINER_OF(work, struct led_ctx, work.work);
	int led_idx = led - &led_ctx[0];

	if (led->remaining) {
		led_transition_start(led);
	} else {
		dk_set_led(led_idx, led->value);

		/* Publish the new value at the end of the transition */
		struct bt_mesh_onoff_status status;

		led_status(led, &status);
		bt_mesh_onoff_srv_pub(&led->srv, NULL, &status);
	}
}

static void attention_blink(struct k_work *work)
{
	static int idx;
	const uint8_t pattern[] = {
#if DT_NODE_EXISTS(DT_ALIAS(led0))
		BIT(0),
#endif
#if DT_NODE_EXISTS(DT_ALIAS(led1))
		BIT(1),
#endif
#if DT_NODE_EXISTS(DT_ALIAS(led2))
		BIT(2),
#endif
#if DT_NODE_EXISTS(DT_ALIAS(led3))
		BIT(3),
#endif
	};

	if (attention) {
		dk_set_leds(pattern[idx++ % ARRAY_SIZE(pattern)]);
		k_work_reschedule(&attention_blink_work, K_MSEC(30));
	} else {
		dk_set_leds(DK_NO_LEDS_MSK);
	}
}

static void attention_on(const struct bt_mesh_model *mod)
{
	attention = true;
	k_work_reschedule(&attention_blink_work, K_NO_WAIT);
}

static void attention_off(const struct bt_mesh_model *mod)
{
	/* Will stop rescheduling blink timer */
	attention = false;
}

static const struct bt_mesh_health_srv_cb health_srv_cb = {
	.attn_on = attention_on,
	.attn_off = attention_off,
};

static struct bt_mesh_health_srv health_srv = {
	.cb = &health_srv_cb,
};

BT_MESH_HEALTH_PUB_DEFINE(health_pub, 0);

/******************************************************************************/
/***************************** Chat model setup *******************************/
/******************************************************************************/
struct presence_cache {
	uint16_t addr;
	enum bt_mesh_chat_cli_presence presence;
};

/* Cache of Presence values of other chat clients. */
static struct presence_cache presence_cache[
			    CONFIG_BT_MESH_CHAT_SAMPLE_PRESENCE_CACHE_SIZE];

static const uint8_t *presence_string[] = {
	[BT_MESH_CHAT_CLI_PRESENCE_AVAILABLE] = "available",
	[BT_MESH_CHAT_CLI_PRESENCE_AWAY] = "away",
	[BT_MESH_CHAT_CLI_PRESENCE_DO_NOT_DISTURB] = "dnd",
	[BT_MESH_CHAT_CLI_PRESENCE_INACTIVE] = "inactive",
};

/**
 * Returns true if the specified address is an address of the local element.
 */
static bool address_is_local(const struct bt_mesh_model *mod, uint16_t addr)
{
	return bt_mesh_model_elem(mod)->rt->addr == addr;
}

/**
 * Returns true if the provided address is unicast address.
 */
static bool address_is_unicast(uint16_t addr)
{
	return (addr > 0) && (addr <= 0x7FFF);
}

/**
 * Returns true if the node is new or the presence status is different from
 * the one stored in the cache.
 */
static bool presence_cache_entry_check_and_update(uint16_t addr,
				       enum bt_mesh_chat_cli_presence presence)
{
	static size_t presence_cache_head;
	size_t i;

	/* Find address in cache. */
	for (i = 0; i < ARRAY_SIZE(presence_cache); i++) {
		if (presence_cache[i].addr == addr) {
			if (presence_cache[i].presence == presence) {
				return false;
			}

			/* Break since the node in the cache. */
			break;
		}
	}

	/* Not in cache. */
	if (i == ARRAY_SIZE(presence_cache)) {
		for (i = 0; i < ARRAY_SIZE(presence_cache); i++) {
			if (!presence_cache[i].addr) {
				break;
			}
		}

		/* Cache is full. */
		if (i == ARRAY_SIZE(presence_cache)) {
			i = presence_cache_head;
			presence_cache_head = (presence_cache_head + 1)
			% CONFIG_BT_MESH_CHAT_SAMPLE_PRESENCE_CACHE_SIZE;
		}
	}

	/* Update cache. */
	presence_cache[i].addr = addr;
	presence_cache[i].presence = presence;

	return true;
}

static void print_client_status(void);

static void handle_chat_start(struct bt_mesh_chat_cli *chat)
{
	print_client_status();
}

static void handle_chat_presence(struct bt_mesh_chat_cli *chat,
				 struct bt_mesh_msg_ctx *ctx,
				 enum bt_mesh_chat_cli_presence presence)
{
	if (address_is_local(chat->model, ctx->addr)) {
		if (address_is_unicast(ctx->recv_dst)) {
			shell_print(chat_shell, "<you> are %s",
				    presence_string[presence]);
		}
	} else {
		if (address_is_unicast(ctx->recv_dst)) {
			shell_print(chat_shell, "<0x%04X> is %s", ctx->addr,
				    presence_string[presence]);
		} else if (presence_cache_entry_check_and_update(ctx->addr,
								 presence)) {
			shell_print(chat_shell, "<0x%04X> is now %s",
				    ctx->addr,
				    presence_string[presence]);
		}
	}
}

static void handle_chat_message(struct bt_mesh_chat_cli *chat,
				struct bt_mesh_msg_ctx *ctx,
				const uint8_t *msg)
{
	/* Don't print own messages. */
	if (address_is_local(chat->model, ctx->addr)) {
		return;
	}

	shell_print(chat_shell, "<0x%04X>: %s", ctx->addr, msg);
}

static void handle_chat_private_message(struct bt_mesh_chat_cli *chat,
					struct bt_mesh_msg_ctx *ctx,
					const uint8_t *msg)
{
	/* Don't print own messages. */
	if (address_is_local(chat->model, ctx->addr)) {
		return;
	}

	shell_print(chat_shell, "<0x%04X>: *you* %s", ctx->addr, msg);
}

static void handle_chat_message_reply(struct bt_mesh_chat_cli *chat,
				      struct bt_mesh_msg_ctx *ctx)
{
	shell_print(chat_shell, "<0x%04X> received the message", ctx->addr);
}

static const struct bt_mesh_chat_cli_handlers chat_handlers = {
	.start = handle_chat_start,
	.presence = handle_chat_presence,
	.message = handle_chat_message,
	.private_message = handle_chat_private_message,
	.message_reply = handle_chat_message_reply,
};

/* .. include_startingpoint_model_handler_rst_1 */
struct bt_mesh_chat_cli chat = {
	.handlers = &chat_handlers,
};

static struct bt_mesh_elem elements[] = {
	BT_MESH_ELEM(
		1,
		BT_MESH_MODEL_LIST(
			BT_MESH_MODEL_CFG_SRV,
			BT_MESH_MODEL_HEALTH_SRV(&health_srv, &health_pub)),
		BT_MESH_MODEL_LIST(BT_MESH_MODEL_CHAT_CLI(&chat))),
#if DT_NODE_EXISTS(DT_ALIAS(led0))
	BT_MESH_ELEM(
		2, BT_MESH_MODEL_LIST(BT_MESH_MODEL_ONOFF_SRV(&led_ctx[0].srv)),
		BT_MESH_MODEL_NONE),
#endif
#if DT_NODE_EXISTS(DT_ALIAS(led1))
	BT_MESH_ELEM(
		3, BT_MESH_MODEL_LIST(BT_MESH_MODEL_ONOFF_SRV(&led_ctx[1].srv)),
		BT_MESH_MODEL_NONE),
#endif
#if DT_NODE_EXISTS(DT_ALIAS(led2))
	BT_MESH_ELEM(
		4, BT_MESH_MODEL_LIST(BT_MESH_MODEL_ONOFF_SRV(&led_ctx[2].srv)),
		BT_MESH_MODEL_NONE),
#endif
#if DT_NODE_EXISTS(DT_ALIAS(led3))
	BT_MESH_ELEM(
		5, BT_MESH_MODEL_LIST(BT_MESH_MODEL_ONOFF_SRV(&led_ctx[3].srv)),
		BT_MESH_MODEL_NONE),
#endif
};
/* .. include_endpoint_model_handler_rst_1 */

static void print_client_status(void)
{
	if (!bt_mesh_is_provisioned()) {
		shell_print(chat_shell,
			    "The mesh node is not provisioned. Please provision the mesh node before using the chat.");
	} else {
		shell_print(chat_shell,
			    "The mesh node is provisioned. The client address is 0x%04x.",
			    bt_mesh_model_elem(chat.model)->rt->addr);
	}

	shell_print(chat_shell, "Current presence: %s",
		    presence_string[chat.presence]);
}

static const struct bt_mesh_comp comp = {
	.cid = CONFIG_BT_COMPANY_ID,
	.elem = elements,
	.elem_count = ARRAY_SIZE(elements),
};

/******************************************************************************/
/******************************** Chat shell **********************************/
/******************************************************************************/
static int cmd_status(const struct shell *shell, size_t argc, char *argv[])
{
	print_client_status();

	return 0;
}

static int cmd_message(const struct shell *shell, size_t argc, char *argv[])
{
	int err;

	if (argc < 2) {
		return -EINVAL;
	}

	err = bt_mesh_chat_cli_message_send(&chat, argv[1]);
	if (err) {
		LOG_WRN("Failed to send message: %d", err);
	}

	/* Print own messages in the chat. */
	shell_print(shell, "<you>: %s", argv[1]);

	return 0;
}

static int cmd_private_message(const struct shell *shell, size_t argc,
			       char *argv[])
{
	uint16_t addr;
	int err;

	if (argc < 3) {
		return -EINVAL;
	}

	addr = strtol(argv[1], NULL, 0);

	/* Print own message to the chat. */
	shell_print(shell, "<you>: *0x%04X* %s", addr, argv[2]);

	err = bt_mesh_chat_cli_private_message_send(&chat, addr, argv[2]);
	if (err) {
		LOG_WRN("Failed to publish message: %d", err);
	}

	return 0;
}

static int cmd_presence_set(const struct shell *shell, size_t argc,
			    char *argv[])
{
	size_t i;

	if (argc < 2) {
		return -EINVAL;
	}

	for (i = 0; i < ARRAY_SIZE(presence_string); i++) {
		if (!strcmp(argv[1], presence_string[i])) {
			enum bt_mesh_chat_cli_presence presence;
			int err;

			presence = i;

			err = bt_mesh_chat_cli_presence_set(&chat, presence);
			if (err) {
				LOG_WRN("Failed to update presence: %d", err);
			}

			/* Print own presence in the chat. */
			shell_print(shell, "You are now %s",
				    presence_string[presence]);

			return 0;
		}
	}

	shell_print(shell,
		    "Unknown presence status: %s. Possible presence statuses:",
		    argv[1]);
	for (i = 0; i < ARRAY_SIZE(presence_string); i++) {
		shell_print(shell, "%s", presence_string[i]);
	}

	return 0;
}

static int cmd_presence_get(const struct shell *shell, size_t argc,
			    char *argv[])
{
	uint16_t addr;
	int err;

	if (argc < 2) {
		return -EINVAL;
	}

	addr = strtol(argv[1], NULL, 0);

	err = bt_mesh_chat_cli_presence_get(&chat, addr);
	if (err) {
		LOG_WRN("Failed to publish message: %d", err);
	}

	return 0;
}

SHELL_STATIC_SUBCMD_SET_CREATE(presence_cmds,
	SHELL_CMD_ARG(set, NULL,
		      "Set presence of the current client <presence: available, away, dnd or inactive>",
		      cmd_presence_set, 2, 0),
	SHELL_CMD_ARG(get, NULL,
		      "Get presence status of the remote node <node>",
		      cmd_presence_get, 2, 0),
	SHELL_SUBCMD_SET_END
);

static int cmd_presence(const struct shell *shell, size_t argc, char *argv[])
{
	if (argc == 1) {
		shell_help(shell);
		/* shell returns 1 when help is printed */
		return 1;
	}

	if (argc != 3) {
		return -EINVAL;
	}

	return 0;
}

SHELL_STATIC_SUBCMD_SET_CREATE(chat_cmds,
	SHELL_CMD_ARG(status, NULL, "Print client status", cmd_status, 1, 0),
	SHELL_CMD(presence, &presence_cmds, "Presence commands", cmd_presence),
	SHELL_CMD_ARG(private, NULL,
		      "Send a private text message to a client <node> <message>",
		      cmd_private_message, 3, 0),
	SHELL_CMD_ARG(msg, NULL, "Send a text message to the chat <message>",
		      cmd_message, 2, 0),
	SHELL_SUBCMD_SET_END
);

static int cmd_chat(const struct shell *shell, size_t argc, char **argv)
{
	if (argc == 1) {
		shell_help(shell);
		/* shell returns 1 when help is printed */
		return 1;
	}

	shell_error(shell, "%s unknown parameter: %s", argv[0], argv[1]);

	return -EINVAL;
}

SHELL_CMD_ARG_REGISTER(chat, &chat_cmds, "Bluetooth Mesh Chat Client commands",
		       cmd_chat, 1, 1);

/******************************************************************************/
/******************************** Public API **********************************/
/******************************************************************************/
const struct bt_mesh_comp *model_handler_init(void)
{
	k_work_init_delayable(&attention_blink_work, attention_blink);

	for (int i = 0; i < ARRAY_SIZE(led_ctx); ++i) {
		k_work_init_delayable(&led_ctx[i].work, led_work);
	}

	chat_shell = shell_backend_uart_get_ptr();
	shell_print(chat_shell, ">>> Bluetooth Mesh Chat sample <<<");

	return &comp;
}

int sensor_message(char *content)
{
	int err;

	if (strlen(content) == 0) {
		return -EINVAL;
	}
	// 應該是從這個地方下 chat
	err = bt_mesh_chat_cli_message_send(&chat, content);
	if (err) {
		LOG_WRN("Failed to send message: %d", err);
	}

	return 0;
}

int sensor_message_len(char *content, uint8_t len)
{
	int err;

	if (strlen(content) == 0) {
		return -EINVAL;
	}
	// 應該是從這個地方下 chat
	err = bt_mesh_chat_cli_message_send_len(&chat, content, len);
	if (err) {
		LOG_WRN("Failed to send message: %d", err);
	}

	return 0;
}

uint16_t get_local_node_id()
{
	return bt_mesh_model_elem(chat.model)->rt->addr;
}

void split_uint16_to_uint8(uint16_t input, uint8_t *high, uint8_t *low) {
    *high = (input >> 8) & 0xFF;
    *low = input & 0xFF;
}
```
